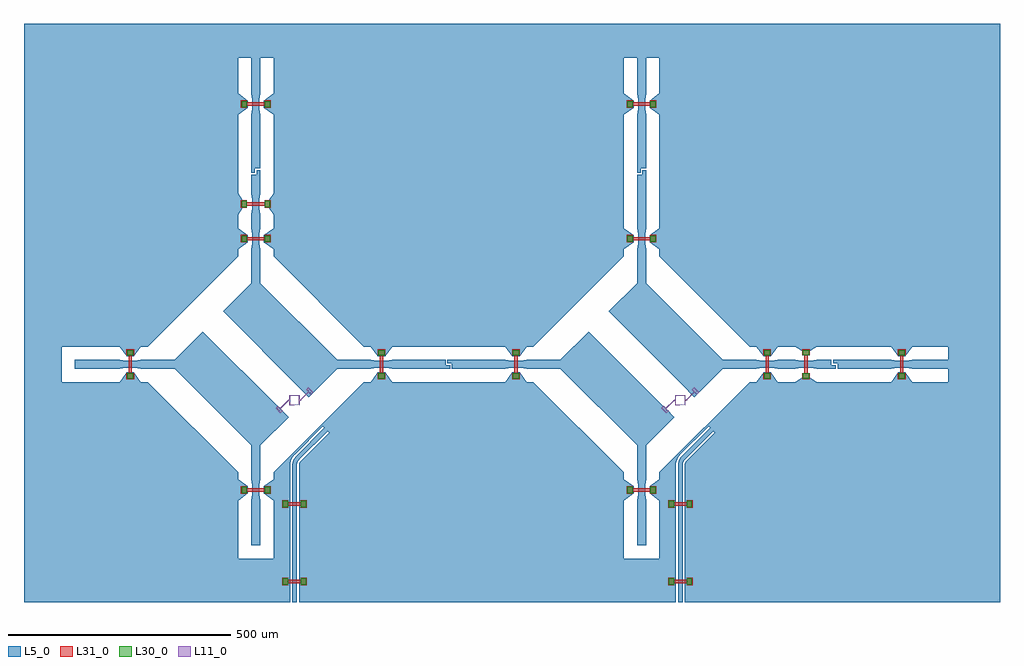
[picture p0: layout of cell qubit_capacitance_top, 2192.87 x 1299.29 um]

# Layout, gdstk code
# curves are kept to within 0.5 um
import gdstk
lib = gdstk.Library(unit=1e-6, precision=1e-09)
def R(c, l, rs):  # rectangles x0, y0, x1, y1
    for r in rs: c.add(gdstk.rectangle(r[:2], r[2:], *l))
def P(c, l, *ps):  # polygons
    for p in ps: c.add(gdstk.Polygon(p, *l))
L5_0 = (5, 0)
L11_0 = (11, 0)
L30_0 = (30, 0)
L31_0 = (31, 0)

qubit_capacitance_top = lib.new_cell('qubit_capacitance_top')
P(qubit_capacitance_top, L5_0, [(479.095,665.639),(479.095,1888.5),(1876.65,1888.5),(1876.65,1808.5),(1874.65,1794.5),(1874.65,1774.5),(1876.65,1760.5),(1876.65,1640.35),(1864.65,1640.35),(1864.65,1630.35),(1856.65,1630.35),(1856.65,1760.5),(1858.65,1774.5),(1858.65,1794.5),(1856.65,1808.5),(1856.65,1888.5),(1826.65,1888.5),(1826.65,1808.5),(1848.65,1792.5),(1848.65,1776.5),(1826.65,1760.5),(1826.65,1506.2),(1848.65,1490.2),(1848.65,1474.2),(1826.65,1458.2),(1826.65,1442.85),(1623.8,1240),(1608.5,1240),(1592.5,1218),(1576.5,1218),(1560.5,1240),(1306.2,1240),(1290.2,1218),(1274.2,1218),(1258.2,1240),(1242.85,1240),(1040,1442.85),(1040,1458.2),(1018,1474.2),(1018,1490.2),(1040,1506.2),(1040,1536.2),(1030,1550.2),(1030,1570.2),(1040,1584.2),(1040,1760.5),(1018,1776.5),(1018,1792.5),(1040,1808.5),(1040,1888.5),(1010,1888.5),(1010,1808.5),(1008,1794.5),(1008,1774.5),(1010,1760.5),(1010,1640.35),(998,1640.35),(998,1630.35),(990,1630.35),(990,1760.5),(992,1774.5),(992,1794.5),(990,1808.5),(990,1888.5),(960,1888.5),(960,1808.5),(982,1792.5),(982,1776.5),(960,1760.5),(960,1584.2),(970,1570.2),(970,1550.2),(960,1536.2),(960,1506.2),(982,1490.2),(982,1474.2),(960,1458.2),(960,1442.85),(757.15,1240),(741.8,1240),(725.8,1218),(709.8,1218),(693.8,1240),(563.65,1240),(563.65,1160),(693.8,1160),(709.8,1182),(725.8,1182),(741.8,1160),(757.15,1160),(960,957.15),(960,941.8),(982,925.8),(982,909.8),(960,893.8),(960,763.65),(1040,763.65),(1040,893.8),(1018,909.8),(1018,925.8),(1040,941.8),(1040,957.15),(1242.85,1160),(1258.2,1160),(1274.2,1182),(1290.2,1182),(1306.2,1160),(1560.5,1160),(1576.5,1182),(1592.5,1182),(1608.5,1160),(1623.8,1160),(1826.65,957.15),(1826.65,941.8),(1848.65,925.8),(1848.65,909.8),(1826.65,893.8),(1826.65,763.65),(1906.65,763.65),(1906.65,893.8),(1884.65,909.8),(1884.65,925.8),(1906.65,941.8),(1906.65,957.15),(2109.5,1160),(2124.85,1160),(2140.85,1182),(2156.85,1182),(2172.85,1160),(2212.05,1160),(2226.05,1170),(2246.05,1170),(2260.05,1160),(2427.15,1160),(2443.15,1182),(2459.15,1182),(2475.15,1160),(2555.15,1160),(2555.15,1190),(2475.15,1190),(2461.15,1192),(2441.15,1192),(2427.15,1190),(2307,1190),(2307,1202),(2297,1202),(2297,1210),(2427.15,1210),(2441.15,1208),(2461.15,1208),(2475.15,1210),(2555.15,1210),(2555.15,1240),(2475.15,1240),(2459.15,1218),(2443.15,1218),(2427.15,1240),(2260.05,1240),(2246.05,1230),(2226.05,1230),(2212.05,1240),(2172.85,1240),(2156.85,1218),(2140.85,1218),(2124.85,1240),(2109.5,1240),(1906.65,1442.85),(1906.65,1458.2),(1884.65,1474.2),(1884.65,1490.2),(1906.65,1506.2),(1906.65,1760.5),(1884.65,1776.5),(1884.65,1792.5),(1906.65,1808.5),(1906.65,1888.5),(479.095,1888.5),(479.095,1964.925),(2671.96,1964.925),(2671.96,665.639),(1963.7,665.639),(1963.85,975.3),(1964.75,978.4),(1967.45,982.6),(2031.4,1046.55),(2027.881,1050.081),(1963.8,986),(1960.95,982),(1959.05,976.75),(1958.7,665.639),(1948.7,665.639),(1949.05,977.75),(1951.65,985.85),(1956.5,992.85),(2020.823,1057.164),(2017.3,1060.7),(1952.1,995.45),(1947.7,989.05),(1944.55,980.75),(1943.7,974.15),(1943.7,665.639),(1097,665.639),(1097.2,975.3),(1098.25,978.8),(1100.8,982.6),(1164.75,1046.55),(1161.2,1050.1),(1097.15,986),(1094.25,982),(1092.5,977.35),(1092,665.639),(1082,665.639),(1082,973),(1082.55,978.7),(1085,985.85),(1089.2,992.15),(1154.15,1057.15),(1150.6,1060.7),(1085.45,995.45),(1080.5,988.05),(1077.65,979.65),(1077,973),(1077,665.639)],
  [(990,793.65),(990,893.8),(992,907.8),(992,927.8),(990,941.8),(990,1017.65),(817.65,1190),(741.8,1190),(727.8,1192),(707.8,1192),(693.8,1190),(593.65,1190),(593.65,1210),(693.8,1210),(707.8,1208),(727.8,1208),(741.8,1210),(817.65,1210),(881.2,1273.55),(1053.6,1101.15),(1052.25,1099.8),(1050.85,1101.2),(1049.45,1099.8),(1053.65,1095.55),(1055.1,1096.95),(1053.7,1098.4),(1055.05,1099.75),(1073.55,1081.2),(1010,1017.65),(1010,941.8),(1008,927.8),(1008,907.8),(1010,893.8),(1010,793.65)],
  [(1856.65,793.65),(1856.65,893.8),(1858.65,907.8),(1858.65,927.8),(1856.65,941.8),(1856.65,1017.65),(1684.35,1190),(1608.5,1190),(1594.5,1192),(1574.5,1192),(1560.5,1190),(1440.35,1190),(1440.35,1202),(1430.35,1202),(1430.35,1210),(1560.5,1210),(1574.5,1208),(1594.5,1208),(1608.5,1210),(1684.35,1210),(1747.85,1273.55),(1920.3,1101.15),(1918.95,1099.8),(1917.5,1101.2),(1916.1,1099.8),(1920.35,1095.55),(1921.75,1096.95),(1920.35,1098.4),(1921.7,1099.75),(1940.2,1081.2),(1876.65,1017.65),(1876.65,941.8),(1874.65,927.8),(1874.65,907.8),(1876.65,893.8),(1876.65,793.65)],
  [(1118.8,1126.45),(1102.2,1143.05),(1119.8,1143.05),(1118.4,1141.6),(1119.8,1140.2),(1118.4,1138.8),(1119.8,1137.35),(1121.2,1138.8),(1122.65,1137.35),(1124.05,1138.8),(1119.8,1143.05),(1102.2,1143.05),(926.45,1318.8),(990,1382.35),(990,1458.2),(992,1472.2),(992,1492.2),(990,1506.2),(990,1536.2),(992,1550.2),(992,1570.2),(990,1584.2),(990,1626.35),(1002,1626.35),(1002,1636.35),(1010,1636.35),(1010,1584.2),(1008,1570.2),(1008,1550.2),(1010,1536.2),(1010,1506.2),(1008,1492.2),(1008,1472.2),(1010,1458.2),(1010,1382.35),(1182.35,1210),(1258.2,1210),(1272.2,1208),(1292.2,1208),(1306.2,1210),(1426.35,1210),(1426.35,1198),(1436.35,1198),(1436.35,1190),(1306.2,1190),(1292.2,1192),(1272.2,1192),(1258.2,1190),(1182.35,1190)],
  [(1985.45,1126.45),(1968.9,1143.05),(1986.45,1143.05),(1985.05,1141.6),(1986.45,1140.2),(1985.05,1138.8),(1986.45,1137.35),(1987.9,1138.8),(1989.3,1137.35),(1990.7,1138.8),(1986.45,1143.05),(1968.9,1143.05),(1793.15,1318.8),(1856.65,1382.35),(1856.65,1458.2),(1858.65,1472.2),(1858.65,1492.2),(1856.65,1506.2),(1856.65,1626.35),(1868.65,1626.35),(1868.65,1636.35),(1876.65,1636.35),(1876.65,1506.2),(1874.65,1492.2),(1874.65,1472.2),(1876.65,1458.2),(1876.65,1382.35),(2049,1210),(2124.85,1210),(2138.85,1208),(2158.85,1208),(2172.85,1210),(2212.05,1210),(2226.05,1208),(2246.05,1208),(2260.05,1210),(2293,1210),(2293,1198),(2303,1198),(2303,1190),(2260.05,1190),(2246.05,1192),(2226.05,1192),(2212.05,1190),(2172.85,1190),(2158.85,1192),(2138.85,1192),(2124.85,1190),(2049,1190)])
P(qubit_capacitance_top, L11_0, [(1921.932,1090.428),(1910.972,1101.389),(1916.276,1106.692),(1921.049,1101.919),(1937.931,1118.786),(1939.786,1119.906),(1941.908,1120.293),(1941.908,1129.918),(1952.908,1129.918),(1952.408,1129.293),(1943.408,1129.293),(1943.408,1109.293),(1952.408,1109.293),(1952.908,1108.668),(1954.408,1108.668),(1954.408,1109.293),(1963.408,1109.293),(1963.408,1129.293),(1954.408,1129.293),(1954.408,1129.918),(1941.908,1129.918),(1941.908,1130.793),(1952.408,1130.793),(1952.908,1130.168),(1954.408,1130.168),(1954.408,1130.793),(1964.908,1130.793),(1964.908,1120.293),(1965.407,1120.324),(1967.635,1121.366),(1984.354,1138.082),(1979.581,1142.855),(1984.884,1148.158),(1995.844,1137.198),(1990.541,1131.895),(1985.768,1136.668),(1968.893,1119.807),(1967.021,1118.677),(1964.908,1118.293),(1964.908,1107.793),(1954.408,1107.793),(1954.408,1108.418),(1952.908,1108.418),(1952.408,1107.793),(1941.908,1107.793),(1941.908,1118.293),(1939.752,1117.663),(1922.463,1100.505),(1927.236,1095.732)],
  [(1055.266,1090.428),(1044.306,1101.389),(1049.609,1106.692),(1054.382,1101.919),(1071.272,1118.793),(1073.12,1119.906),(1075.242,1120.293),(1075.242,1129.918),(1086.242,1129.918),(1085.742,1129.293),(1076.742,1129.293),(1076.742,1109.293),(1085.742,1109.293),(1086.242,1108.668),(1087.742,1108.668),(1087.742,1109.293),(1096.742,1109.293),(1096.742,1129.293),(1087.742,1129.293),(1087.742,1129.918),(1075.242,1129.918),(1075.242,1130.793),(1085.742,1130.793),(1086.242,1130.168),(1087.742,1130.168),(1087.742,1130.793),(1098.242,1130.793),(1098.242,1120.293),(1098.707,1120.32),(1100.993,1121.389),(1117.687,1138.082),(1112.914,1142.855),(1118.217,1148.158),(1129.177,1137.198),(1123.874,1131.895),(1119.101,1136.668),(1102.234,1119.814),(1100.354,1118.677),(1098.242,1118.293),(1098.242,1107.793),(1087.742,1107.793),(1087.742,1108.418),(1086.242,1108.418),(1085.742,1107.793),(1075.242,1107.793),(1075.242,1118.293),(1073.114,1117.681),(1055.796,1100.505),(1060.569,1095.732)])
R(qubit_capacitance_top, L30_0, [(1061,705,1073,719), (1101,705,1113,719), (1927.7,705,1939.7,719), (1967.7,705,1979.7,719), (1061,879,1073,893), (1101,879,1113,893), (1927.7,879,1939.7,893), (1967.7,879,1979.7,893), (968,910.8,980,924.8), (1020,910.8,1032,924.8), (1834.65,910.8,1846.65,924.8), (1886.65,910.8,1898.65,924.8), (710.8,1168,724.8,1180), (1275.2,1168,1289.2,1180), (1577.5,1168,1591.5,1180), (2141.85,1168,2155.85,1180), (2229.05,1168,2243.05,1180), (2444.15,1168,2458.15,1180), (710.8,1220,724.8,1232), (1275.2,1220,1289.2,1232), (1577.5,1220,1591.5,1232), (2141.85,1220,2155.85,1232), (2229.05,1220,2243.05,1232), (2444.15,1220,2458.15,1232), (968,1475.2,980,1489.2), (1020,1475.2,1032,1489.2), (1834.65,1475.2,1846.65,1489.2), (1886.65,1475.2,1898.65,1489.2), (968,1553.2,980,1567.2), (1020,1553.2,1032,1567.2), (968,1777.5,980,1791.5), (1020,1777.5,1032,1791.5), (1834.65,1777.5,1846.65,1791.5), (1886.65,1777.5,1898.65,1791.5)])
P(qubit_capacitance_top, L31_0, [(966.5,1776),(966.5,1793),(980,1793),(980,1788.25),(1020,1788.25),(1020,1793),(1033.5,1793),(1033.5,1776),(1020,1776),(1020,1780.75),(980,1780.75),(980,1776)],
  [(1833.15,1776),(1833.15,1793),(1846.65,1793),(1846.65,1788.25),(1886.65,1788.25),(1886.65,1793),(1900.15,1793),(1900.15,1776),(1886.65,1776),(1886.65,1780.75),(1846.65,1780.75),(1846.65,1776)],
  [(966.5,1551.7),(966.5,1568.7),(980,1568.7),(980,1563.95),(1020,1563.95),(1020,1568.7),(1033.5,1568.7),(1033.5,1551.7),(1020,1551.7),(1020,1556.45),(980,1556.45),(980,1551.7)],
  [(1833.15,1473.7),(1833.15,1490.7),(1846.65,1490.7),(1846.65,1485.95),(1886.65,1485.95),(1886.65,1490.7),(1900.15,1490.7),(1900.15,1473.7),(1886.65,1473.7),(1886.65,1478.45),(1846.65,1478.45),(1846.65,1473.7)],
  [(966.5,1473.7),(966.5,1490.7),(980,1490.7),(980,1485.95),(1020,1485.95),(1020,1490.7),(1033.5,1490.7),(1033.5,1473.7),(1020,1473.7),(1020,1478.45),(980,1478.45),(980,1473.7)],
  [(2442.65,1166.5),(2442.65,1180),(2447.4,1180),(2447.4,1220),(2442.65,1220),(2442.65,1233.5),(2459.65,1233.5),(2459.65,1220),(2454.9,1220),(2454.9,1180),(2459.65,1180),(2459.65,1166.5)],
  [(1273.7,1166.5),(1273.7,1180),(1278.45,1180),(1278.45,1220),(1273.7,1220),(1273.7,1233.5),(1290.7,1233.5),(1290.7,1220),(1285.95,1220),(1285.95,1180),(1290.7,1180),(1290.7,1166.5)],
  [(1576,1166.5),(1576,1180),(1580.75,1180),(1580.75,1220),(1576,1220),(1576,1233.5),(1593,1233.5),(1593,1220),(1588.25,1220),(1588.25,1180),(1593,1180),(1593,1166.5)],
  [(2140.35,1166.5),(2140.35,1180),(2145.1,1180),(2145.1,1220),(2140.35,1220),(2140.35,1233.5),(2157.35,1233.5),(2157.35,1220),(2152.6,1220),(2152.6,1180),(2157.35,1180),(2157.35,1166.5)],
  [(2227.55,1166.5),(2227.55,1180),(2232.3,1180),(2232.3,1220),(2227.55,1220),(2227.55,1233.5),(2244.55,1233.5),(2244.55,1220),(2239.8,1220),(2239.8,1180),(2244.55,1180),(2244.55,1166.5)],
  [(709.3,1166.5),(709.3,1180),(714.05,1180),(714.05,1220),(709.3,1220),(709.3,1233.5),(726.3,1233.5),(726.3,1220),(721.55,1220),(721.55,1180),(726.3,1180),(726.3,1166.5)],
  [(966.5,909.3),(966.5,926.3),(980,926.3),(980,921.55),(1020,921.55),(1020,926.3),(1033.5,926.3),(1033.5,909.3),(1020,909.3),(1020,914.05),(980,914.05),(980,909.3)],
  [(1833.15,909.3),(1833.15,926.3),(1846.65,926.3),(1846.65,921.55),(1886.65,921.55),(1886.65,926.3),(1900.15,926.3),(1900.15,909.3),(1886.65,909.3),(1886.65,914.05),(1846.65,914.05),(1846.65,909.3)],
  [(1059.5,877.5),(1059.5,894.5),(1073,894.5),(1073,889.75),(1101,889.75),(1101,894.5),(1114.5,894.5),(1114.5,877.5),(1101,877.5),(1101,882.25),(1073,882.25),(1073,877.5)],
  [(1926.2,877.5),(1926.2,894.5),(1939.7,894.5),(1939.7,889.75),(1967.7,889.75),(1967.7,894.5),(1981.2,894.5),(1981.2,877.5),(1967.7,877.5),(1967.7,882.25),(1939.7,882.25),(1939.7,877.5)],
  [(1059.5,703.5),(1059.5,720.5),(1073,720.5),(1073,715.75),(1101,715.75),(1101,720.5),(1114.5,720.5),(1114.5,703.5),(1101,703.5),(1101,708.25),(1073,708.25),(1073,703.5)],
  [(1926.2,703.5),(1926.2,720.5),(1939.7,720.5),(1939.7,715.75),(1967.7,715.75),(1967.7,720.5),(1981.2,720.5),(1981.2,703.5),(1967.7,703.5),(1967.7,708.25),(1939.7,708.25),(1939.7,703.5)])

lib.write_gds('qubit_capacitance_top.gds')
